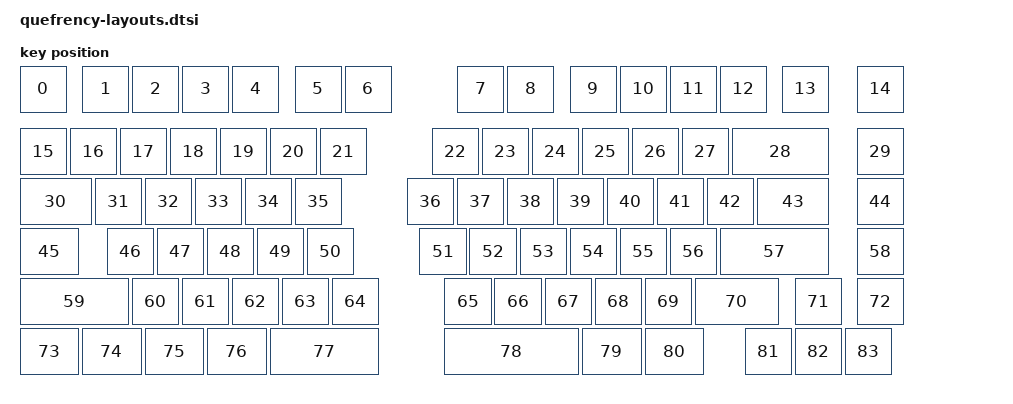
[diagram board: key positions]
#include <physical_layouts.dtsi>

/ {
    quefrency_layout: quefrency_layout {
        compatible = "zmk,physical-layout";
        display-name = "Default";
        transform = <&default_transform>;
        kscan = <&kscan0>;

        //--------------------------__w___h____x____y_____rot____rx____ry
        keys = <&key_physical_attrs 100 100    0    0       0     0     0>
             , <&key_physical_attrs 100 100  125    0       0     0     0>
             , <&key_physical_attrs 100 100  225    0       0     0     0>
             , <&key_physical_attrs 100 100  325    0       0     0     0>
             , <&key_physical_attrs 100 100  425    0       0     0     0>
             , <&key_physical_attrs 100 100  550    0       0     0     0>
             , <&key_physical_attrs 100 100  650    0       0     0     0>
             , <&key_physical_attrs 100 100  875    0       0     0     0>
             , <&key_physical_attrs 100 100  975    0       0     0     0>
             , <&key_physical_attrs 100 100 1100    0       0     0     0>
             , <&key_physical_attrs 100 100 1200    0       0     0     0>
             , <&key_physical_attrs 100 100 1300    0       0     0     0>
             , <&key_physical_attrs 100 100 1400    0       0     0     0>
             , <&key_physical_attrs 100 100 1525    0       0     0     0>
             , <&key_physical_attrs 100 100 1675    0       0     0     0>
             , <&key_physical_attrs 100 100    0  125       0     0     0>
             , <&key_physical_attrs 100 100  100  125       0     0     0>
             , <&key_physical_attrs 100 100  200  125       0     0     0>
             , <&key_physical_attrs 100 100  300  125       0     0     0>
             , <&key_physical_attrs 100 100  400  125       0     0     0>
             , <&key_physical_attrs 100 100  500  125       0     0     0>
             , <&key_physical_attrs 100 100  600  125       0     0     0>
             , <&key_physical_attrs 100 100  825  125       0     0     0>
             , <&key_physical_attrs 100 100  925  125       0     0     0>
             , <&key_physical_attrs 100 100 1025  125       0     0     0>
             , <&key_physical_attrs 100 100 1125  125       0     0     0>
             , <&key_physical_attrs 100 100 1225  125       0     0     0>
             , <&key_physical_attrs 100 100 1325  125       0     0     0>
             , <&key_physical_attrs 200 100 1425  125       0     0     0>
             , <&key_physical_attrs 100 100 1675  125       0     0     0>
             , <&key_physical_attrs 150 100    0  225       0     0     0>
             , <&key_physical_attrs 100 100  150  225       0     0     0>
             , <&key_physical_attrs 100 100  250  225       0     0     0>
             , <&key_physical_attrs 100 100  350  225       0     0     0>
             , <&key_physical_attrs 100 100  450  225       0     0     0>
             , <&key_physical_attrs 100 100  550  225       0     0     0>
             , <&key_physical_attrs 100 100  775  225       0     0     0>
             , <&key_physical_attrs 100 100  875  225       0     0     0>
             , <&key_physical_attrs 100 100  975  225       0     0     0>
             , <&key_physical_attrs 100 100 1075  225       0     0     0>
             , <&key_physical_attrs 100 100 1175  225       0     0     0>
             , <&key_physical_attrs 100 100 1275  225       0     0     0>
             , <&key_physical_attrs 100 100 1375  225       0     0     0>
             , <&key_physical_attrs 150 100 1475  225       0     0     0>
             , <&key_physical_attrs 100 100 1675  225       0     0     0>
             , <&key_physical_attrs 125 100    0  325       0     0     0>
             , <&key_physical_attrs 100 100  175  325       0     0     0>
             , <&key_physical_attrs 100 100  275  325       0     0     0>
             , <&key_physical_attrs 100 100  375  325       0     0     0>
             , <&key_physical_attrs 100 100  475  325       0     0     0>
             , <&key_physical_attrs 100 100  575  325       0     0     0>
             , <&key_physical_attrs 100 100  800  325       0     0     0>
             , <&key_physical_attrs 100 100  900  325       0     0     0>
             , <&key_physical_attrs 100 100 1000  325       0     0     0>
             , <&key_physical_attrs 100 100 1100  325       0     0     0>
             , <&key_physical_attrs 100 100 1200  325       0     0     0>
             , <&key_physical_attrs 100 100 1300  325       0     0     0>
             , <&key_physical_attrs 225 100 1400  325       0     0     0>
             , <&key_physical_attrs 100 100 1675  325       0     0     0>
             , <&key_physical_attrs 225 100    0  425       0     0     0>
             , <&key_physical_attrs 100 100  225  425       0     0     0>
             , <&key_physical_attrs 100 100  325  425       0     0     0>
             , <&key_physical_attrs 100 100  425  425       0     0     0>
             , <&key_physical_attrs 100 100  525  425       0     0     0>
             , <&key_physical_attrs 100 100  625  425       0     0     0>
             , <&key_physical_attrs 100 100  850  425       0     0     0>
             , <&key_physical_attrs 100 100  950  425       0     0     0>
             , <&key_physical_attrs 100 100 1050  425       0     0     0>
             , <&key_physical_attrs 100 100 1150  425       0     0     0>
             , <&key_physical_attrs 100 100 1250  425       0     0     0>
             , <&key_physical_attrs 175 100 1350  425       0     0     0>
             , <&key_physical_attrs 100 100 1550  425       0     0     0>
             , <&key_physical_attrs 100 100 1675  425       0     0     0>
             , <&key_physical_attrs 125 100    0  525       0     0     0>
             , <&key_physical_attrs 125 100  125  525       0     0     0>
             , <&key_physical_attrs 125 100  250  525       0     0     0>
             , <&key_physical_attrs 125 100  375  525       0     0     0>
             , <&key_physical_attrs 225 100  500  525       0     0     0>
             , <&key_physical_attrs 275 100  850  525       0     0     0>
             , <&key_physical_attrs 125 100 1125  525       0     0     0>
             , <&key_physical_attrs 125 100 1250  525       0     0     0>
             , <&key_physical_attrs 100 100 1450  525       0     0     0>
             , <&key_physical_attrs 100 100 1550  525       0     0     0>
             , <&key_physical_attrs 100 100 1650  525       0     0     0>
             ;
    };

    position_map {
        compatible = "zmk,physical-layout-position-map";

        complete;

        layout0: layout0 {
            physical-layout = <&physical_layout0>;
            positions = 
            < 0   1   2   3   4   5   6   7   8   9   10  11  12  13  14 >,
            < 15  16  17  18  19  20  21  22  23  24  25  26  27  28  29 >,
            < 30  31  32  33  34  35  36  37  38  39  40  41  42  43  44 >,
            < 45  46  47  48  49  50  51  52  53  54  55  56  57  58 >,
            < 59  60  61  62  63  64  65  66  67  68  69  70  71  72 >,
            < 73  74  75  76  77  78  79  80  81  82  83 >;
        };
    };
};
